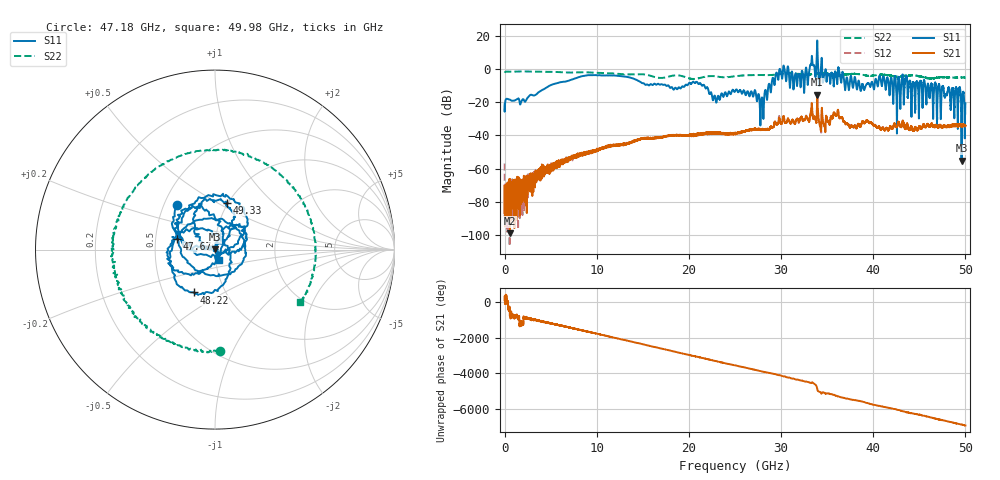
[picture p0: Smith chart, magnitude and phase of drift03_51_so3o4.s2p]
!Created with skrf (http://scikit-rf.org).
# Hz S RI R 50.0
!freq ReS11 ImS11 ReS21 ImS21 ReS12 ImS12 ReS22 ImS22
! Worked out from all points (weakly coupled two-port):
!   10001 points, 300 kHz to 50 GHz, reference 50 ohm
!   highest |S21| = -15.39 dB at 33.93 GHz (marker M1); lowest = -99.0 dB at 560.3 MHz (marker M2)
!   lowest |S11| = -55.3 dB at 49.59 GHz (marker M3), VSWR 1.00, Z = 49.9 + j0.132 ohm
!   |S11| at or under -10 dB: start of sweep to 4.851 GHz; 21.69 GHz to 28.62 GHz (6.932 GHz wide, 27.6 % of centre); 47.19 GHz to end of sweep (the widest 3 of 45)
!   |S22| runs from -5.9 to -1.3 dB; largest |S21 - S12| = 0.017
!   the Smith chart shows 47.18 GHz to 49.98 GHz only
!   S11 on the Smith chart (normalised r, x): 47.18 GHz: 0.59, +0.33; 47.67 GHz: 0.65, +0.08; 48.22 GHz: 0.71, -0.37; 49.33 GHz: 0.99, +0.56; 49.98 GHz: 1.04, -0.12
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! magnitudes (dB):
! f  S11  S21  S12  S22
! 300 kHz  -21.2  -70.5  -56.9  -2.1
! 255.3 MHz  -17.9  -79.3  -81.8  -1.4
! 560.3 MHz  -18.3  -99.0  -83.1  -1.5
! 8.335 GHz  -4.3  -50.9  -51.4  -1.9
! 16.67 GHz  -8.8  -41.4  -41.4  -5.2
! 21.01 GHz  -8.7  -39.4  -39.1  -5.6
! 22.81 GHz  -16.1  -38.7  -38.6  -4.2
! 25 GHz  -13.4  -38.5  -39.0  -4.3
! 27.92 GHz  -17.1  -36.1  -36.5  -3.5
! 29.69 GHz  -6.4  -32.3  -31.5  -3.1
! 32.32 GHz  -1.5  -30.3  -30.5  -3.3
! 33.34 GHz  7.9  -20.4  -20.9  -2.9
! 33.93 GHz  17.3  -15.4  -15.7  -2.5
! 38.82 GHz  -9.1  -31.5  -31.9  -3.4
! 41.67 GHz  -9.0  -36.5  -36.7  -3.7
! 47.18 GHz  -9.7  -33.9  -33.9  -5.0
! 47.67 GHz  -13.2  -34.5  -34.1  -4.6
! 48.22 GHz  -11.5  -34.5  -34.3  -4.9
! 49.33 GHz  -11.4  -33.8  -33.6  -5.1
! 49.59 GHz  -55.3  -34.3  -33.9  -5.1
! 49.98 GHz  -24.3  -34.5  -34.3  -5.1
! 50 GHz  -20.6  -34.1  -34.2  -5.0
